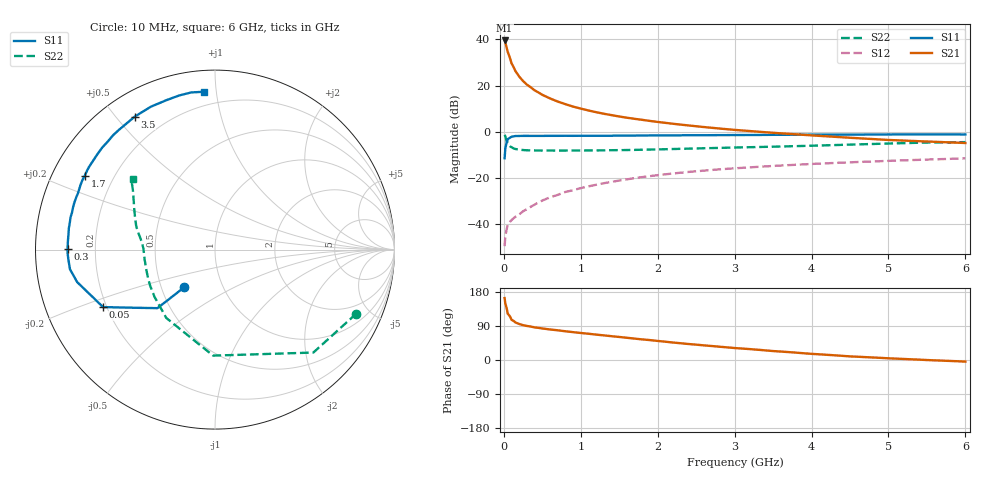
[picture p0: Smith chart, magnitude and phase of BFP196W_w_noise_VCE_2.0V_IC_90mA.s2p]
! Infineon Technologies  Discrete & RF Semiconductors
! BFP196W
! VCE =  2.0 V,  IC =  90 mA
! Common Emitter S-Parameters:  Jan 2017
# GHz  S  MA  R  50
!  f  S11  S21  S12  S22
! GHz  MAG  ANG  MAG  ANG  MAG  ANG  MAG  ANG
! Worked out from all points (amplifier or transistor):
!   77 points, 10 MHz to 6 GHz, reference 50 ohm
!   highest |S21| = 39.5 dB at 10 MHz (marker M1)
!   |S21| within 3 dB of that: start of sweep to 35.5 MHz
!   unconditionally stable (mu >= 1): 415.1 MHz to 3.416 GHz
!   at 130 MHz: K = 0.63, MSG = 32.5 dB, |S12| = -37.2 dB
!   at 2.2 GHz: K = 1.04, MAG = 9.6 dB, |S12| = -18.0 dB
!   at 6 GHz: K = 0.97, MSG = 3.3 dB, |S12| = -11.4 dB
!   lowest NFmin = 1.78 dB at 450 MHz
!   S11 on the Smith chart (normalised r, x): 10 MHz: 0.66, -0.30; 50 MHz: 0.19, -0.23; 300 MHz: 0.10, +0.00; 1.7 GHz: 0.10, +0.26; 3.5 GHz: 0.10, +0.56; 6 GHz: 0.12, +0.93
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0.01  0.2704 -129.2  94.67 163.4  0.0034 69.0  0.8642 -24.4
0.02  0.4574 -134.5  84.88 148.1  0.0056 67.3  0.7933 -46.3
0.05  0.7008 -152.8  53.67 122.0  0.0098 46.1  0.5907 -91.0
0.1  0.7887 -166.7  30.29 106.0  0.0124 47.4  0.4676 -125.5
0.15  0.8154 -172.3  20.76 99.2  0.0147 49.2  0.4278 -141.9
0.2  0.8183 -175.8  15.67 95.0  0.0165 53.4  0.4138 -150.7
0.25  0.8214 -178.4  12.57 92.0  0.0193 56.1  0.4059 -156.8
0.3  0.8215 179.7  10.5 89.8  0.0214 57.9  0.4011 -160.6
0.4  0.8209 176.5  7.915 86.1  0.0269 63.0  0.3978 -166.1
0.5  0.8207 174.0  6.333 83.2  0.0329 65.3  0.3956 -169.5
0.6  0.823 171.7  5.296 80.6  0.0386 66.1  0.3966 -172.0
0.7  0.8226 169.6  4.536 78.4  0.0436 68.0  0.3953 -174.0
0.8  0.8248 167.4  3.977 75.8  0.0505 68.4  0.396 -175.5
1.1  0.8262 161.6  2.908 69.3  0.0666 67.2  0.3979 -179.3
1.3  0.8256 157.7  2.468 65.0  0.0779 65.8  0.3998 178.6
1.7  0.8341 150.4  1.919 56.5  0.1002 62.8  0.4091 174.5
2.1  0.8412 143.1  1.57 48.3  0.1214 58.6  0.4229 170.7
3.1  0.8562 127.1  1.075 30.2  0.1675 48.3  0.464 161.8
3.5  0.8654 121.1  0.957 23.6  0.184 44.7  0.4797 158.2
4.1  0.8724 113.0  0.822 15.0  0.2065 39.0  0.5086 152.4
5.1  0.882 102.2  0.66 3.6  0.2399 30.6  0.5668 143.9
6  0.8815 94.0  0.576 -4.2  0.2683 23.1  0.6021 139.5
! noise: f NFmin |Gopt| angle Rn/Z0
0.45  1.78  0.58  -175  0.06
0.9  1.93  0.6  -168  0.08
1.9  2.83  0.71  -147  0.22
2.4  3.27  0.75  -142  0.36
